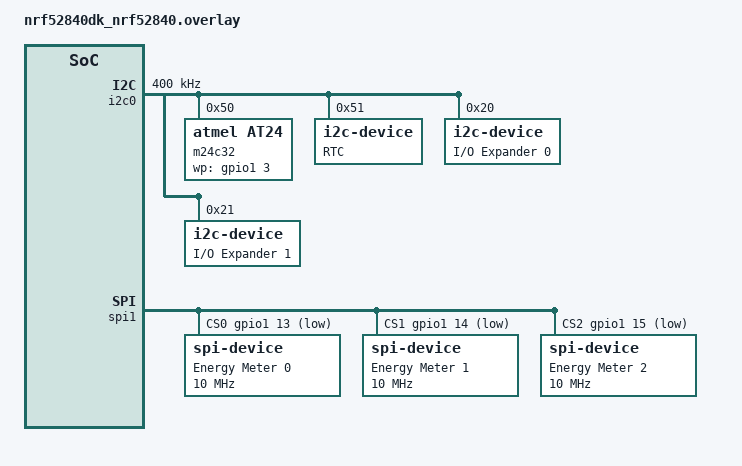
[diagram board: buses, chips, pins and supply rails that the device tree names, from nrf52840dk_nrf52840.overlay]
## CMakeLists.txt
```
cmake_minimum_required(VERSION 3.20.0)
find_package(Zephyr REQUIRED HINTS $ENV{ZEPHYR_BASE})

project(Energy_Meter)

FILE(GLOB app_sources src/*.c)
target_sources(app PRIVATE ${app_sources})
```

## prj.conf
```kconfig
# Network shell
CONFIG_SHELL=y
CONFIG_OPENTHREAD_SHELL=y
CONFIG_SHELL_ARGC_MAX=26
CONFIG_SHELL_CMD_BUFF_SIZE=416

# Enable OpenThread features set
CONFIG_OPENTHREAD_NORDIC_LIBRARY_FTD=y

# L2 enabling
CONFIG_NET_L2_OPENTHREAD=y

# Networking
CONFIG_NETWORKING=y

# OpenThread Joiner
CONFIG_OPENTHREAD_JOINER_AUTOSTART=y
CONFIG_OPENTHREAD_JOINER_PSKD="M3T3R1T"

# EEPROM
CONFIG_EEPROM=y

# I2C
CONFIG_I2C=y

# SPI
CONFIG_SPI=y

CONFIG_MBEDTLS_SHA1_C=n
CONFIG_FPU=y

CONFIG_GPIO_SHELL=y
```

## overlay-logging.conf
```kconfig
# Logging

# Enable net module logging
# CONFIG_NET_LOG=y
# Option for configuring log level in net config library
# CONFIG_NET_CONFIG_LOG_LEVEL_INF=y

# Option for configuring log level in Zephyr L2 logging
# CONFIG_OPENTHREAD_L2_DEBUG=y
# CONFIG_OPENTHREAD_L2_LOG_LEVEL_DBG=y
# CONFIG_OPENTHREAD_L2_DEBUG_DUMP_15_4=y
# CONFIG_OPENTHREAD_L2_DEBUG_DUMP_IPV6=y

# Configure sample logging setting
CONFIG_LOG=y
CONFIG_OPENTHREAD_DEBUG=y

# Option for configuring log level in OpenThread
CONFIG_OPENTHREAD_LOG_LEVEL_NOTE=y

# Enable RTT logging backend
CONFIG_USE_SEGGER_RTT=y
CONFIG_LOG_BACKEND_RTT=y

# Disable UART logging backend
CONFIG_LOG_BACKEND_UART=n
CONFIG_SHELL_LOG_BACKEND=n
```

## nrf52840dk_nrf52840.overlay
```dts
&i2c0 {
    clock-frequency = < I2C_BITRATE_FAST >;

    m24c32: m24c32@50 {
        compatible = "atmel,at24";
        status = "okay";
        reg = < 0x50 >;
        size = < 4096 >;
        pagesize = < 32 >;
        address-width = < 16 >;
        timeout = < 5 >;
        wp-gpios = < &gpio1 3 GPIO_PULL_UP >;
    };

    pcf8563: pcf8563@51 {
        compatible = "i2c-device";
        status = "okay";
        reg = < 0x51 >;
        label = "RTC";
    };

    tca6408a_0: tca6408a@20 {
        compatible = "i2c-device";
        status = "okay";
        reg = < 0x20 >;
        label = "I/O Expander 0";
    };

    tca6408a_1: tca6408a@21 {
        compatible = "i2c-device";
        status = "okay";
        reg = < 0x21 >;
        label = "I/O Expander 1";
    };
};

&i2c0_default {
    group1 {
        psels = <NRF_PSEL(TWIM_SCL, 1, 1)>,
                <NRF_PSEL(TWIM_SDA, 1, 2)>;
    };
};

&i2c0_sleep {
    group1 {
        psels = <NRF_PSEL(TWIM_SCL, 1, 1)>,
                <NRF_PSEL(TWIM_SDA, 1, 2)>;
    };
};

&spi1 {
    cs-gpios = < &gpio1 13 GPIO_ACTIVE_LOW >,
               < &gpio1 14 GPIO_ACTIVE_LOW >,
               < &gpio1 15 GPIO_ACTIVE_LOW >;

    ade7753_0: ade7753@0 {
        compatible = "spi-device";
        reg = < 0 >;
        spi-max-frequency = < 10000000 >;
        label = "Energy Meter 0";
    };

    ade7753_1: ade7753@1 {
        compatible = "spi-device";
        reg = < 1 >;
        spi-max-frequency = < 10000000 >;
        label = "Energy Meter 1";
    };

    ade7753_2: ade7753@2 {
        compatible = "spi-device";
        reg = < 2 >;
        spi-max-frequency = < 10000000 >;
        label = "Energy Meter 2";
    };
};

&spi1_default {
    group1 {
        psels = < NRF_PSEL(SPIM_SCK, 1, 10) >,
                < NRF_PSEL(SPIM_MISO, 1, 11) >,
                < NRF_PSEL(SPIM_MOSI, 1, 12) >;
    };
};

&spi1_sleep {
    group1 {
        psels = < NRF_PSEL(SPIM_SCK, 1, 10) >,
                < NRF_PSEL(SPIM_MISO, 1, 11) >,
                < NRF_PSEL(SPIM_MOSI, 1, 12) >;
    };
};

&spi3 {
    status = "disabled";
};

/ {
    aliases {
    eeprom = &m24c32;
    rtc = &pcf8563;
    ioexpander0 = &tca6408a_0;
    ioexpander1 = &tca6408a_1;
    energymeter0 = &ade7753_0;
    energymeter1 = &ade7753_1;
    energymeter2 = &ade7753_2;
    };
};
```

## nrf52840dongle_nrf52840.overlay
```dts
&i2c0 {
    clock-frequency = < I2C_BITRATE_FAST >;

    m24c32: m24c32@50 {
        compatible = "atmel,at24";
        status = "okay";
        reg = < 0x50 >;
        size = < 4096 >;
        pagesize = < 32 >;
        address-width = < 16 >;
        timeout = < 5 >;
        wp-gpios = < &gpio0 29 GPIO_PULL_UP >;
    };

    pcf8563: pcf8563@51 {
        compatible = "i2c-device";
        status = "okay";
        reg = < 0x51 >;
        label = "RTC";
    };

    tca6408a_0: tca6408a@20 {
        compatible = "i2c-device";
        status = "okay";
        reg = < 0x20 >;
        label = "I/O Expander 0";
    };

    tca6408a_1: tca6408a@21 {
        compatible = "i2c-device";
        status = "okay";
        reg = < 0x21 >;
        label = "I/O Expander 1";
    };
};

&i2c0_default {
    group1 {
        psels = <NRF_PSEL(TWIM_SCL, 0, 2)>,
                <NRF_PSEL(TWIM_SDA, 0, 31)>;
    };
};

&i2c0_sleep {
    group1 {
        psels = <NRF_PSEL(TWIM_SCL, 0, 2)>,
                <NRF_PSEL(TWIM_SDA, 0, 31)>;
    };
};

&uart0 {
    status = "disabled";
};


&spi1 {
    cs-gpios = < &gpio0 20 GPIO_ACTIVE_LOW >,
               < &gpio0 22 GPIO_ACTIVE_LOW >,
               < &gpio0 24 GPIO_ACTIVE_LOW >;

    ade7753_0: ade7753@0 {
        compatible = "spi-device";
        reg = < 0 >;
        spi-max-frequency = < 10000000 >;
        label = "Energy Meter 0";
    };

    ade7753_1: ade7753@1 {
        compatible = "spi-device";
        reg = < 1 >;
        spi-max-frequency = < 10000000 >;
        label = "Energy Meter 1";
    };

    ade7753_2: ade7753@2 {
        compatible = "spi-device";
        reg = < 2 >;
        spi-max-frequency = < 10000000 >;
        label = "Energy Meter 2";
    };
};

&spi1_default {
    group1 {
        psels = < NRF_PSEL(SPIM_SCK, 0, 13) >,
                < NRF_PSEL(SPIM_MISO, 0, 15) >,
                < NRF_PSEL(SPIM_MOSI, 0, 17) >;
    };
};

&spi1_sleep {
    group1 {
        psels = < NRF_PSEL(SPIM_SCK, 0, 13) >,
                < NRF_PSEL(SPIM_MISO, 0, 15) >,
                < NRF_PSEL(SPIM_MOSI, 0, 17) >;
    };
};

/ {
    aliases {
    eeprom = &m24c32;
    rtc = &pcf8563;
    ioexpander0 = &tca6408a_0;
    ioexpander1 = &tca6408a_1;
    energymeter0 = &ade7753_0;
    energymeter1 = &ade7753_1;
    energymeter2 = &ade7753_2;
    };
};
```

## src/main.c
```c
#include <zephyr/kernel.h>
#include <zephyr/logging/log.h>

#include "energy_meter.h"


LOG_MODULE_REGISTER(Energy_Meter, LOG_LEVEL_DBG);


int main(void)
{
    int ret = 0;

    ret = get_components();
    if (ret != 0)
	{
		LOG_ERR("Could not start Energy Meter: %i!", ret);
		return ret;
	}
	else
	{
		LOG_INF("Started Energy Meter.");
	}

    ret = check_device_data();
    if (ret != 0)
	{
		LOG_ERR("Could not check Energy Meter data: %i!", ret);
		return ret;
	}
	else
	{
		LOG_INF("Checked Energy Meter data.");
	}

    while (1)
    {
        if (is_readings_update_required())
        {
            LOG_INF("Updating Energy Meter readings.");

            ret = update_readings();
            if (ret != 0)
                LOG_WRN("Could not update Energy Meter readings: %i!", ret);
            else
                LOG_INF("Updated Energy Meter readings.");
        }
    }


    return ret;
}
```

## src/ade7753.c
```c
#include "ade7753.h"

#include <zephyr/logging/log.h>

#include <math.h>


#define ADE7753_LOG_PROJECT_NAME Energy_Meter
#define ADE7753_LOG_LEVEL LOG_LEVEL_WRN


static int write_register(const struct ade7753_device *a_device, uint8_t a_tx_buffer[], const size_t a_tx_buffer_length)
{
    LOG_MODULE_DECLARE(ADE7753_LOG_PROJECT_NAME, ADE7753_LOG_LEVEL);

    a_tx_buffer[0] |= BIT(7);

    const struct spi_buf tx_spi_buf[] = {
        { .buf = a_tx_buffer, .len = a_tx_buffer_length }
    };

    const struct spi_buf_set tx_spi_buf_set = {
        .buffers = tx_spi_buf,
        .count = 1
    };

    int ret = 0;

    ret = gpio_pin_set_dt(a_device->cs, 1);
    if (ret != 0)
    {
        LOG_ERR("Could not set CS pin to active state: %i", ret);
        return ret;
    }
    else
    {
        LOG_INF("Set CS pin to active state.");
    }

    ret = spi_write_dt(a_device->spi_spec, &tx_spi_buf_set);
    if (ret != 0)
    {
        LOG_ERR("Could not write to ADE7753: %i", ret);
        return ret;
    }
    else
    {
        LOG_INF("Wrote to ADE7753.");
    }

    ret = gpio_pin_set_dt(a_device->cs, 0);
    if (ret != 0)
        LOG_ERR("Could not set CS pin to inactive state: %i", ret);
    else
        LOG_INF("Set CS pin to inactive state.");

    return ret;
}

static int read_register(struct ade7753_device *a_device, uint8_t a_tx_buffer[], const size_t a_tx_buffer_length, uint8_t a_rx_buffer[], const size_t a_rx_buffer_length)
{
    LOG_MODULE_DECLARE(ADE7753_LOG_PROJECT_NAME, ADE7753_LOG_LEVEL);

    const struct spi_buf tx_spi_buf[] = {
        { .buf = a_tx_buffer, .len = a_tx_buffer_length }
    };

    const struct spi_buf_set tx_spi_buf_set = {
        .buffers = tx_spi_buf,
        .count = 1
    };

    const struct spi_buf rx_spi_buf[] = {
        { .buf = a_rx_buffer, .len = a_rx_buffer_length }
    };

    const struct spi_buf_set rx_spi_buf_set = {
        .buffers = rx_spi_buf,
        .count = 1
    };

    int ret = 0;

    ret = gpio_pin_set_dt(a_device->cs, 1);
    if (ret != 0)
    {
        LOG_ERR("Could not set CS pin to active state: %i", ret);
        return ret;
    }
    else
    {
        LOG_INF("Set CS pin to active state.");
    }

    ret = spi_write_dt(a_device->spi_spec, &tx_spi_buf_set);
    if (ret != 0)
    {
        LOG_ERR("Could not write to ADE7753: %i", ret);
        return ret;
    }
    else
    {
        LOG_INF("Wrote to ADE7753.");
    }

    ret = spi_read_dt(a_device->spi_spec, &rx_spi_buf_set);
    if (ret != 0)
    {
        LOG_ERR("Could not read from ADE7753: %i", ret);
        return ret;
    }
    else
    {
        LOG_INF("Read from ADE7753.");
    }

    ret = gpio_pin_set_dt(a_device->cs, 0);
    if (ret != 0)
        LOG_ERR("Could not set CS pin to inactive state: %i", ret);
    else
        LOG_INF("Set CS pin to inactive state.");

    return ret;
}

static int check_checksum(const struct ade7753_device *a_device)
{
    LOG_MODULE_DECLARE(ADE7753_LOG_PROJECT_NAME, ADE7753_LOG_LEVEL);

    int ret = 0;

    uint8_t tx_buffer[] = { ADE7753_CHKSUM };
    uint8_t rx_buffer[1];

    ret = read_register(a_device, tx_buffer, sizeof(tx_buffer), rx_buffer, sizeof(rx_buffer));
    if (ret != 0)
    {
        LOG_ERR("Could not read ADE7753 Checksum Register: %i", ret);
        return ret;
    }
    else
    {
        LOG_INF("Read ADE7753 Checksum Register.");
    }

    LOG_DBG("Checksum Register content: %X", rx_buffer[0]);

    return ret;
}

int ade7753_reset(struct ade7753_device *a_device)
{
    LOG_MODULE_DECLARE(ADE7753_LOG_PROJECT_NAME, ADE7753_LOG_LEVEL);

    int ret = 0;

    return ret;
}

int ade7753_initialize(struct ade7753_device *a_device)
{
    LOG_MODULE_DECLARE(ADE7753_LOG_PROJECT_NAME, ADE7753_LOG_LEVEL);
    
    int ret = 0;

    ret = gpio_pin_configure_dt(a_device->cs, GPIO_OUTPUT_INACTIVE);
    if (ret != 0)
        LOG_ERR("Could configure CS pin to output inactive: %i", ret);
    else
        LOG_INF("Configured CS pin to output inactive.");

    return ret;
}

int ade7753_get_active_energy(struct ade7753_device *a_device)
{
    LOG_MODULE_DECLARE(ADE7753_LOG_PROJECT_NAME, ADE7753_LOG_LEVEL);

    int ret = 0;

    uint8_t tx_buffer[] = { ADE7753_RVAENERGY };
    uint8_t rx_buffer[3];

    ret = read_register(a_device, tx_buffer, sizeof(tx_buffer), rx_buffer, sizeof(rx_buffer));
    if (ret != 0)
    {
        LOG_ERR("Could not read ADE7753 Active Energy Register: %i", ret);
        return ret;
    }
    else
    {
        LOG_INF("Read ADE7753 Active Energy Register.");
    }

    LOG_DBG("Active Energy Register content: %X:%X:%X", rx_buffer[0], rx_buffer[1], rx_buffer[2]);

    uint32_t active_energy = 0;
    active_energy |= rx_buffer[2];
    active_energy |= (rx_buffer[1] << 8);
    active_energy |= (rx_buffer[0] << 16);

    if (active_energy > 60000)
    {
        LOG_ERR("Incorrect active energy value!");
        return -EBADMSG;
    }

    a_device->readings.active_energy = (active_energy / 3600.0) / 1000.0;

    LOG_WRN("Active increment: %i!", active_energy);

    return ret;
}

int ade7753_get_apparent_energy(struct ade7753_device *a_device)
{
    LOG_MODULE_DECLARE(ADE7753_LOG_PROJECT_NAME, ADE7753_LOG_LEVEL);

    int ret = 0;

    uint8_t tx_buffer[] = { ADE7753_RAENERGY };
    uint8_t rx_buffer[3];

    ret = read_register(a_device, tx_buffer, sizeof(tx_buffer), rx_buffer, sizeof(rx_buffer));
    if (ret != 0)
    {
        LOG_ERR("Could not read ADE7753 Apparent Energy Register: %i", ret);
        return ret;
    }
    else
    {
        LOG_INF("Read ADE7753 Apparent Energy Register.");
    }

    LOG_DBG("Apparent Energy Register content: %X:%X:%X", rx_buffer[0], rx_buffer[1], rx_buffer[2]);

    uint32_t apparent_energy = 0;
    apparent_energy |= rx_buffer[2];
    apparent_energy |= (rx_buffer[1] << 8);
    apparent_energy |= (rx_buffer[0] << 16);

    if (apparent_energy > 60000)
    {
        LOG_ERR("Incorrect apparent energy value!");
        return -EBADMSG;
    }

    LOG_WRN("Apparent increment: %i!", apparent_energy);

    a_device->readings.apparent_energy = (apparent_energy / 3600.0) / 1000.0;

    return ret;
}

void ade7753_get_reactive_energy(struct ade7753_device *a_device)
{
    LOG_MODULE_DECLARE(ADE7753_LOG_PROJECT_NAME, ADE7753_LOG_LEVEL);

    double reactive_energy = sqrt(pow(a_device->readings.apparent_energy, 2) - pow(a_device->readings.active_energy, 2));

    LOG_INF("Calculated reactive energy.");

    if (isnan(reactive_energy))
    {
        LOG_ERR("Incorrect reactive energy value!");
        return;
    }

    a_device->readings.reactive_energy = reactive_energy;

    LOG_DBG("Reactive energy value: %lf", a_device->readings.reactive_energy);
}

int ade7753_get_current_rms(struct ade7753_device *a_device)
{
    LOG_MODULE_DECLARE(ADE7753_LOG_PROJECT_NAME, ADE7753_LOG_LEVEL);

    int ret = 0;

    uint8_t tx_buffer[] = { ADE7753_IRMS };
    uint8_t rx_buffer[3];

    ret = read_register(a_device, tx_buffer, sizeof(tx_buffer), rx_buffer, sizeof(rx_buffer));
    if (ret != 0)
    {
        LOG_ERR("Could not read ADE7753 Channel 1 RMS Value (Current Channel) Register: %i", ret);
        return ret;
    }
    else
    {
        LOG_INF("Read ADE7753 Channel 1 RMS Value (Current Channel) Register.");
    }

    LOG_DBG("Channel 1 RMS Value (Current Channel) Register content: %X:%X:%X", rx_buffer[0], rx_buffer[1], rx_buffer[2]);

    uint32_t current_rms = 0;
    current_rms |= rx_buffer[2];
    current_rms |= (rx_buffer[1] << 8);
    current_rms |= (rx_buffer[0] << 16);

    a_device->readings.current_rms = current_rms * 0.000039352801928;

    return ret;
}

int ade7753_get_voltage_rms(struct ade7753_device *a_device)
{
    LOG_MODULE_DECLARE(ADE7753_LOG_PROJECT_NAME, ADE7753_LOG_LEVEL);

    int ret = 0;

    uint8_t tx_buffer[] = { ADE7753_VRMS };
    uint8_t rx_buffer[3];

    ret = read_register(a_device, tx_buffer, sizeof(tx_buffer), rx_buffer, sizeof(rx_buffer));
    if (ret != 0)
    {
        LOG_ERR("Could not read ADE7753 Channel 2 RMS Value (Voltage Channel) Register: %i", ret);
        return ret;
    }
    else
    {
        LOG_INF("Read ADE7753 Channel 2 RMS Value (Voltage Channel) Register.");
    }

    LOG_DBG("Channel 2 RMS Value (Voltage Channel) Register content: %X:%X:%X", rx_buffer[0], rx_buffer[1], rx_buffer[2]);

    uint32_t voltage_rms = 0;
    voltage_rms |= rx_buffer[2];
    voltage_rms |= (rx_buffer[1] << 8);
    voltage_rms |= (rx_buffer[0] << 16);

    a_device->readings.voltage_rms = voltage_rms * 0.000188788604906;

    return ret;
}

int ade7753_get_readings(struct ade7753_device *a_device)
{
    LOG_MODULE_DECLARE(ADE7753_LOG_PROJECT_NAME, ADE7753_LOG_LEVEL);

    int ret = 0;

    ret = ade7753_get_active_energy(a_device);
    if (ret != 0)
        LOG_ERR("Could not get active energy from ADE7753: %i!", ret);
    else
        LOG_INF("Got active energy from ADE7753.");

    ret = ade7753_get_apparent_energy(a_device);
    if (ret != 0)
        LOG_ERR("Could not get apparent energy from ADE7753: %i!", ret);
    else
        LOG_INF("Got apparent energy from ADE7753.");

    ade7753_get_reactive_energy(a_device);

    ret = ade7753_get_current_rms(a_device);
    if (ret != 0)
        LOG_ERR("Could not get current RMS from ADE7753: %i!", ret);
    else
        LOG_INF("Got current RMS from ADE7753.");

    ret = ade7753_get_voltage_rms(a_device);
    if (ret != 0)
        LOG_ERR("Could not get volatge RMS from ADE7753: %i!", ret);
    else
        LOG_INF("Got voltage RMS from ADE7753.");

    return ret;
}
```

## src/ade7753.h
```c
#pragma once

#include <zephyr/drivers/spi.h>
#include <zephyr/drivers/gpio.h>


#define ADE7753_WAVEFORM    0x01
#define ADE7753_AENERGY     0x02
#define ADE7753_RAENERGY    0x03
#define ADE7753_LAENERGY    0x04
#define ADE7753_VAENERGY    0x05
#define ADE7753_RVAENERGY   0x06
#define ADE7753_LVAENERGY   0x07
#define ADE7753_LVARENERGY  0x08
#define ADE7753_MODE        0x09
#define ADE7753_IRQEN       0x0A
#define ADE7753_STATUS      0x0B
#define ADE7753_RSTSTATUS   0x0C
#define ADE7753_CH1OS       0x0D
#define ADE7753_CH2OS       0x0E
#define ADE7753_GAIN        0x0F
#define ADE7753_PHCAL       0x10
#define ADE7753_APOS        0x11
#define ADE7753_WGAIN       0x12
#define ADE7753_WDIV        0x13
#define ADE7753_CFNUM       0x14
#define ADE7753_CFDEN       0x15
#define ADE7753_IRMS        0x16
#define ADE7753_VRMS        0x17
#define ADE7753_IRMSOS      0x18
#define ADE7753_VRMSOS      0x19
#define ADE7753_VAGAIN      0x1A
#define ADE7753_VADIV       0x1B
#define ADE7753_LINECYC     0x1C
#define ADE7753_ZXTOUT      0x1D
#define ADE7753_SAGCYC      0x1E
#define ADE7753_SAGLVL      0x1F
#define ADE7753_IPKLVL      0x20
#define ADE7753_VPKLVL      0x21
#define ADE7753_IPEAK       0x22
#define ADE7753_RSTIPEAK    0x23
#define ADE7753_VPEAK       0x24
#define ADE7753_RSTVPEAK    0x25
#define ADE7753_TEMP        0x26
#define ADE7753_PERIOD      0x27
#define ADE7753_TMODE       0x3D
#define ADE7753_CHKSUM      0x3E
#define ADE7753_DIEREV      0x3F


struct ade7753_readings {
    double active_energy;
    double apparent_energy;
    double reactive_energy;
    double current_rms;
    double voltage_rms;
};

struct ade7753_device {
    struct spi_dt_spec *spi_spec;
    struct gpio_dt_spec *cs;
    struct ade7753_readings readings;
	struct k_sem *lock;
};


int ade7753_reset(struct ade7753_device *a_device);
int ade7753_initialize(struct ade7753_device *a_device);
int ade7753_get_active_energy(struct ade7753_device *a_device);
int ade7753_get_apparent_energy(struct ade7753_device *a_device);
void ade7753_get_reactive_energy(struct ade7753_device *a_device);
int ade7753_get_current_rms(struct ade7753_device *a_device);
int ade7753_get_voltage_rms(struct ade7753_device *a_device);
int ade7753_get_readings(struct ade7753_device *a_device);
```

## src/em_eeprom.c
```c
#include "em_eeprom.h"

#include <zephyr/logging/log.h>


#define EEPROM_LOG_PROJECT_NAME Energy_Meter
#define EEPROM_LOG_LEVEL LOG_LEVEL_DBG

#define EEPROM_NODE DT_ALIAS(eeprom)


static const struct device *s_eeprom;


int em_eeprom_get_device(void)
{
    LOG_MODULE_DECLARE(EEPROM_LOG_PROJECT_NAME, EEPROM_LOG_LEVEL);

	s_eeprom = DEVICE_DT_GET(EEPROM_NODE);

	if (!device_is_ready(s_eeprom))
	{
		LOG_ERR("Device \"%s\" is not ready. Check the driver initialization logs for errors!", s_eeprom->name);

		s_eeprom = NULL;

		return -ENODEV;
	}

	LOG_INF("Found EEPROM device \"%s\".", s_eeprom->name);

	return 0;
}

size_t em_eeprom_get_size(void)
{
	LOG_MODULE_DECLARE(EEPROM_LOG_PROJECT_NAME, EEPROM_LOG_LEVEL);

	const size_t eeprom_size = eeprom_get_size(s_eeprom);
	LOG_INF("Using EEPROM %s with size of: %zu [B].", s_eeprom->name, eeprom_size);

	return eeprom_size;
}

int em_eeprom_read(const off_t a_data_offset, void *a_data, const size_t a_data_length)
{
	LOG_MODULE_DECLARE(EEPROM_LOG_PROJECT_NAME, EEPROM_LOG_LEVEL);

	int ret = 0;
	
	ret = eeprom_read(s_eeprom, a_data_offset, a_data, a_data_length);
	if (ret != 0)
		LOG_ERR("Could not read from EEPROM %s: %i!", s_eeprom->name, ret);
	else
		LOG_DBG("Read %i bytes at %lX from EEPROM %s.", a_data_length, a_data_offset, s_eeprom->name);

	return ret;
}

int em_eeprom_write(const off_t a_data_offset, const void *a_data, const size_t a_data_length)
{
	LOG_MODULE_DECLARE(EEPROM_LOG_PROJECT_NAME, EEPROM_LOG_LEVEL);

	int ret = 0;

	ret = eeprom_write(s_eeprom, a_data_offset, a_data, a_data_length);
	if (ret != 0)
		LOG_ERR("Could not write to EEPROM %s: %i!", s_eeprom->name, ret);
	else
		LOG_DBG("Wrote %i bytes at %lX to EEPROM %s.", a_data_length, a_data_offset, s_eeprom->name);

	return ret;
}
```

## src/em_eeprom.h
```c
#pragma once

#include <zephyr/drivers/eeprom.h>


#define EUI_OFFSET 0U
#define BOOT_TIME_OFFSET 8U
#define RESET_TIME_OFFSET 16U
#define READINGS_OFFSET 24U


int em_eeprom_get_device(void);
size_t em_eeprom_get_size(void);
int em_eeprom_read(const off_t a_data_offset, void *a_data, const size_t a_data_length);
int em_eeprom_write(const off_t a_data_offset, const void *a_data, const size_t a_data_length);
```

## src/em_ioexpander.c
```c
#include "em_ioexpander.h"

#include <zephyr/logging/log.h>


#define IOEXPANDER_LOG_PROJECT_NAME Energy_Meter
#define IOEXPANDER_LOG_LEVEL LOG_LEVEL_ERR

#define IOEXPANDER_0_NODE DT_ALIAS(ioexpander0)
#define IOEXPANDER_1_NODE DT_ALIAS(ioexpander1)

#define GPIO0_PORT DT_NODELABEL(gpio0)
#define GPIO1_PORT DT_NODELABEL(gpio1)

// #define IOEXPANDER_0_RESET_PIN 5
// #define IOEXPANDER_0_INT_PIN 6
#define IOEXPANDER_0_RESET_PIN 10
#define IOEXPANDER_0_INT_PIN 9

// #define IOEXPANDER_1_RESET_PIN 7
// #define IOEXPANDER_1_INT_PIN 8
#define IOEXPANDER_1_RESET_PIN 10
#define IOEXPANDER_1_INT_PIN 13


static struct tca6408a_device s_ioexpander_0;
static struct tca6408a_device s_ioexpander_1;

K_SEM_DEFINE(io_lock_0, 1, 1);
K_SEM_DEFINE(io_lock_1, 1, 1);


static void ioexpander_0_get_device(void)
{
    LOG_MODULE_DECLARE(IOEXPANDER_LOG_PROJECT_NAME, IOEXPANDER_LOG_LEVEL);

	memset(&s_ioexpander_0, 0, sizeof(s_ioexpander_0));

	static struct i2c_dt_spec ioexpander = I2C_DT_SPEC_GET(IOEXPANDER_0_NODE);

	s_ioexpander_0.i2c_spec = &ioexpander;

	if (!device_is_ready(s_ioexpander_0.i2c_spec->bus))
	{
		LOG_ERR("I2C bus %s for I/O Expander 0 device is not ready!", s_ioexpander_0.i2c_spec->bus->name);

		s_ioexpander_0.i2c_spec = NULL;

		return;
	}

	LOG_INF("Found I/O Expander 0 device at address \"0x%X\".", s_ioexpander_0.i2c_spec->addr);
}

static int ioexpander_0_get_pins(void)
{
	LOG_MODULE_DECLARE(IOEXPANDER_LOG_PROJECT_NAME, IOEXPANDER_LOG_LEVEL);

	static struct gpio_dt_spec reset_pin = {
        // .port = DEVICE_DT_GET(GPIO1_PORT),
		.port = DEVICE_DT_GET(GPIO0_PORT),
        .pin = IOEXPANDER_0_RESET_PIN
    };

	static struct gpio_dt_spec interrupt_pin = {
        // .port = DEVICE_DT_GET(GPIO1_PORT),
		.port = DEVICE_DT_GET(GPIO0_PORT),
        .pin = IOEXPANDER_0_INT_PIN
    };
    
    if (!device_is_ready(DEVICE_DT_GET(GPIO1_PORT)))
    {
        LOG_ERR("GPIO port %s for reset and interrupt pin of I/O Expander 0 is not ready!", reset_pin.port->name);
        return -ENODEV;
    }

	s_ioexpander_0.reset_pin = &reset_pin;
	s_ioexpander_0.interrupt_pin = &interrupt_pin;

    LOG_INF("Found I/O Expander 0 configuration pins.");

	return 0;
}

static void ioexpander_1_get_device(void)
{
    LOG_MODULE_DECLARE(IOEXPANDER_LOG_PROJECT_NAME, IOEXPANDER_LOG_LEVEL);

	memset(&s_ioexpander_1, 0, sizeof(s_ioexpander_1));

	static struct i2c_dt_spec ioexpander = I2C_DT_SPEC_GET(IOEXPANDER_1_NODE);

	s_ioexpander_1.i2c_spec = &ioexpander; 

	if (!device_is_ready(s_ioexpander_1.i2c_spec->bus))
	{
		LOG_ERR("I2C bus %s for I/O Expander 1 device is not ready!", s_ioexpander_1.i2c_spec->bus->name);

		s_ioexpander_1.i2c_spec = NULL;

		return;
	}

	LOG_INF("Found I/O Expander 1 device at address \"0x%X\".", s_ioexpander_1.i2c_spec->addr);
}

static int ioexpander_1_get_pins(void)
{
	LOG_MODULE_DECLARE(IOEXPANDER_LOG_PROJECT_NAME, IOEXPANDER_LOG_LEVEL);

	static struct gpio_dt_spec reset_pin = {
        .port = DEVICE_DT_GET(GPIO1_PORT),
        .pin = IOEXPANDER_1_RESET_PIN
    };

	static struct gpio_dt_spec interrupt_pin = {
        .port = DEVICE_DT_GET(GPIO1_PORT),
        .pin = IOEXPANDER_1_INT_PIN
    };
    
    if (!device_is_ready(DEVICE_DT_GET(GPIO1_PORT)))
    {
        LOG_ERR("GPIO port %s for reset and interrupt pin of I/O Expander 1 is not ready!", reset_pin.port->name);
        return -ENODEV;
    }

	s_ioexpander_1.reset_pin = &reset_pin;
	s_ioexpander_1.interrupt_pin = &interrupt_pin;

    LOG_INF("Found I/O Expander 1 configuration pins.");

	return 0;
}

static inline void ioexpander_0_interrupt_handler(const struct device *a_port, struct gpio_callback *a_cb, gpio_port_pins_t a_pins)
{
	LOG_MODULE_DECLARE(IOEXPANDER_LOG_PROJECT_NAME, IOEXPANDER_LOG_LEVEL);

    ARG_UNUSED(a_port);
	ARG_UNUSED(a_cb);
	ARG_UNUSED(a_pins);

	LOG_INF("Called I/O Expander 0 interrupt handler.");

	tca6408a_interrupt_handler(&s_ioexpander_0);
}

static inline void ioexpander_1_interrupt_handler(const struct device *a_port, struct gpio_callback *a_cb, gpio_port_pins_t a_pins)
{
	LOG_MODULE_DECLARE(IOEXPANDER_LOG_PROJECT_NAME, IOEXPANDER_LOG_LEVEL);

    ARG_UNUSED(a_port);
	ARG_UNUSED(a_cb);
	ARG_UNUSED(a_pins);

	LOG_INF("Called I/O Expander 1 interrupt handler.");

	tca6408a_interrupt_handler(&s_ioexpander_1);
}

static int initialize_devices(void)
{
	LOG_MODULE_DECLARE(IOEXPANDER_LOG_PROJECT_NAME, IOEXPANDER_LOG_LEVEL);

	int ret = 0;

	ret = tca6408a_initialize(&s_ioexpander_0);
	if (ret != 0)
	{
		LOG_ERR("Could not initialize I/O Expander 0!");
		return ret;
	}
	else
	{
		LOG_INF("Initialized I/O Expander 0.");
	}

	s_ioexpander_0.lock = &io_lock_0;

	ret = tca6408a_interrupt_callback_configure(&s_ioexpander_0, ioexpander_0_interrupt_handler);
	if (ret != 0)
	{
		LOG_ERR("Could not configure interrupt for I/O Expander 0!");
		return ret;
	}
	else
	{
		LOG_INF("Configured interrupt for I/O Expander 0.");
	}

	ret = tca6408a_initialize(&s_ioexpander_1);
	if (ret != 0)
	{
		LOG_ERR("Could not initialize I/O Expander 1!");
		return ret;
	}
	else
	{
		LOG_INF("Initialized I/O Expander 1.");
	}

	s_ioexpander_1.lock = &io_lock_1;

	ret = tca6408a_interrupt_callback_configure(&s_ioexpander_1, ioexpander_1_interrupt_handler);
	if (ret != 0)
	{
		LOG_ERR("Could not configure interrupt for I/O Expander 1!");
		return ret;
	}
	else
	{
		LOG_INF("Configured interrupt for I/O Expander 1.");
	}

	return ret;
}

int em_ioexpander_get_devices(void)
{
	LOG_MODULE_DECLARE(IOEXPANDER_LOG_PROJECT_NAME, IOEXPANDER_LOG_LEVEL);

	int ret = 0;

    ioexpander_0_get_device();
	ret = ioexpander_0_get_pins();
	if (ret != 0)
	{
		LOG_ERR("Could not get pins for I/O Expander 0!");
		return ret;
	}
	else
	{
		LOG_INF("Got pins for I/O Expander 0.");
	}

    ioexpander_1_get_device();
	ret = ioexpander_1_get_pins();
	if (ret != 0)
	{
		LOG_ERR("Could not get pins for I/O Expander 1!");
		return ret;
	}
	else
	{
		LOG_INF("Got pins for I/O Expander 1.");
	}

	LOG_INF("Got I/O Expander devices.");

	ret = initialize_devices();
	if (ret != 0)
		LOG_ERR("Could not initialize I/O Expander devices!");
	else
		LOG_INF("Initialized I/O Expander devices.");

	return ret;
}

int em_ioxpander_0_pin_configure(const gpio_pin_t a_pin, const gpio_flags_t flags)
{
	LOG_MODULE_DECLARE(IOEXPANDER_LOG_PROJECT_NAME, IOEXPANDER_LOG_LEVEL);

	LOG_INF("Configure I/O Expander 0 pin %i with flags %i.", a_pin, flags);

	return tca6408a_pin_configure(&s_ioexpander_0, a_pin, flags);
}

int em_ioxpander_0_pin_set(const gpio_pin_t a_pin, const bool a_value)
{
	LOG_MODULE_DECLARE(IOEXPANDER_LOG_PROJECT_NAME, IOEXPANDER_LOG_LEVEL);

	LOG_INF("Set I/O Expander 0 pin %i with value %i.", a_pin, a_value);

	return tca6408a_pin_set(&s_ioexpander_0, a_pin, a_value);
}

bool em_ioxpander_0_pin_get(const gpio_pin_t a_pin)
{
	LOG_MODULE_DECLARE(IOEXPANDER_LOG_PROJECT_NAME, IOEXPANDER_LOG_LEVEL);

	bool a_value = false;

	if (tca6408a_pin_get(&s_ioexpander_0, a_pin, &a_value) != 0)
		LOG_ERR("Could not get pin %i value from I/O Expander 0 @%X!", a_pin, s_ioexpander_0.i2c_spec->addr);
	else
		LOG_DBG("Got I/O Expander 0 pin %i value %i.", a_pin, a_value);

	return a_value;
}

int em_ioxpander_0_pin_interrupt_configure(const gpio_pin_t a_pin, const gpio_flags_t flags)
{
	LOG_MODULE_DECLARE(IOEXPANDER_LOG_PROJECT_NAME, IOEXPANDER_LOG_LEVEL);

	LOG_INF("Configure I/O Expander 0 interrupt for pin %i with flags %i.", a_pin, flags);

	return tca6408a_pin_interrupt_configure(&s_ioexpander_0, a_pin, flags);
}

bool em_ioxpander_0_pin_interrupt_status(const gpio_pin_t a_pin)
{
	LOG_MODULE_DECLARE(IOEXPANDER_LOG_PROJECT_NAME, IOEXPANDER_LOG_LEVEL);

	LOG_INF("Get I/O Expander 0 interrupt status for pin %i.", a_pin);

	return tca6408a_pin_interrupt_get_status(&s_ioexpander_0, a_pin);
}

int em_ioxpander_1_pin_configure(const gpio_pin_t a_pin, const gpio_flags_t flags)
{
	LOG_MODULE_DECLARE(IOEXPANDER_LOG_PROJECT_NAME, IOEXPANDER_LOG_LEVEL);

	LOG_INF("Configure I/O Expander 1 pin %i with flags %i.", a_pin, flags);

	return tca6408a_pin_configure(&s_ioexpander_1, a_pin, flags);
}

int em_ioxpander_1_pin_set(const gpio_pin_t a_pin, const bool a_value)
{
	LOG_MODULE_DECLARE(IOEXPANDER_LOG_PROJECT_NAME, IOEXPANDER_LOG_LEVEL);

	LOG_INF("Set I/O Expander 1 pin %i with value %i.", a_pin, a_value);

	return tca6408a_pin_set(&s_ioexpander_1, a_pin, a_value);
}

bool em_ioxpander_1_pin_get(const gpio_pin_t a_pin)
{
	LOG_MODULE_DECLARE(IOEXPANDER_LOG_PROJECT_NAME, IOEXPANDER_LOG_LEVEL);

	bool a_value = false;

	if (tca6408a_pin_get(&s_ioexpander_1, a_pin, &a_value) != 0)
		LOG_ERR("Could not get pin %i value from I/O Expander 1 @%X!", a_pin, s_ioexpander_1.i2c_spec->addr);
	else
		LOG_DBG("Got I/O Expander 1 pin %i value %i.", a_pin, a_value);

	return a_value;
}

int em_ioxpander_1_pin_interrupt_configure(const gpio_pin_t a_pin, const gpio_flags_t flags)
{
	LOG_MODULE_DECLARE(IOEXPANDER_LOG_PROJECT_NAME, IOEXPANDER_LOG_LEVEL);

	LOG_INF("Configure I/O Expander 1 interrupt for pin %i with flags %i.", a_pin, flags);

	return tca6408a_pin_interrupt_configure(&s_ioexpander_1, a_pin, flags);
}

bool em_ioxpander_1_pin_interrupt_status(const gpio_pin_t a_pin)
{
	LOG_MODULE_DECLARE(IOEXPANDER_LOG_PROJECT_NAME, IOEXPANDER_LOG_LEVEL);

	LOG_INF("Get I/O Expander 1 interrupt status for pin %i.", a_pin);

	return tca6408a_pin_interrupt_get_status(&s_ioexpander_1, a_pin);
}
```

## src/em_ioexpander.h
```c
#pragma once

#include "tca6408a.h"


int em_ioexpander_get_devices(void);

int em_ioxpander_0_pin_configure(const gpio_pin_t a_pin, const gpio_flags_t flags);
int em_ioxpander_0_pin_set(const gpio_pin_t a_pin, const bool a_value);
bool em_ioxpander_0_pin_get(const gpio_pin_t a_pin);
int em_ioxpander_0_pin_interrupt_configure(const gpio_pin_t a_pin, const gpio_flags_t flags);
bool em_ioxpander_0_pin_interrupt_status(const gpio_pin_t a_pin);

int em_ioxpander_1_pin_configure(const gpio_pin_t a_pin, const gpio_flags_t flags);
int em_ioxpander_1_pin_set(const gpio_pin_t a_pin, const bool a_value);
bool em_ioxpander_1_pin_get(const gpio_pin_t a_pin);
int em_ioxpander_1_pin_interrupt_configure(const gpio_pin_t a_pin, const gpio_flags_t flags);
bool em_ioxpander_1_pin_interrupt_status(const gpio_pin_t a_pin);
```

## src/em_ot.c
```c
#include "em_ot.h"

#include <zephyr/drivers/gpio.h>

#include <openthread/thread.h>
#include <openthread/srp_client.h>
#include <openthread/udp.h>
#include <openthread/dns_client.h>
#include <openthread/sntp.h>

#include "energy_meter.h"


#define OT_LOG_PROJECT_NAME Energy_Meter
#define OT_LOG_LEVEL LOG_LEVEL_DBG

// #define STATUS_LED_NODE DT_ALIAS(led0)
#define STATUS_LED_NODE DT_ALIAS(led3)

#define SRP_CLIENT_HOST_NAME "ot-host"

#define UDP_SRP_CLIENT_SERVICE_INSTANCE_NAME "ot-service"
#define UDP_SRP_CLIENT_SERVICE_NAME "_energy_meter._udp"
#define UDP_SRP_CLIENT_SERVICE_PORT 51200

#define SNTP_SERVER_NAME "time.google.com"


static struct gpio_dt_spec s_state_led;

static struct openthread_context *s_context = NULL;
static otInstance *s_instance = NULL;
static uint8_t s_eui64[8];

static otUdpSocket s_udp_socket;

static otIp6Address s_sntp_address;
static uint64_t s_sntp_time;

K_SEM_DEFINE(dns_lock, 0, 1);
K_SEM_DEFINE(sntp_lock, 0, 1);


static int configure_led0(void)
{
    LOG_MODULE_DECLARE(OT_LOG_PROJECT_NAME, OT_LOG_LEVEL);

    static struct gpio_dt_spec led = GPIO_DT_SPEC_GET(STATUS_LED_NODE, gpios);

    s_state_led = led;

    int ret = 0;

    if (!device_is_ready(s_state_led.port))
    {
        LOG_ERR("GPIO port %s for LED 0 is not ready!", s_state_led.port->name);
        return -ENODEV;
    }

    ret = gpio_pin_configure_dt(&s_state_led, GPIO_OUTPUT_INACTIVE);
    if (ret != 0)
        LOG_ERR("Could not configure LED 0 pin: %i!", ret);
    else
        LOG_INF("Configured LED 0 pin.");

    return ret;
}

static void state_changed_callback(otChangedFlags a_flags, void *a_context)
{
    LOG_MODULE_DECLARE(OT_LOG_PROJECT_NAME, OT_LOG_LEVEL);

    OT_UNUSED_VARIABLE(a_context);

    if ((a_flags & OT_CHANGED_THREAD_ROLE) != 0)
    {
        otDeviceRole current_role = otThreadGetDeviceRole(s_instance);

        switch (current_role)
        {
            case OT_DEVICE_ROLE_LEADER:
            case OT_DEVICE_ROLE_ROUTER:
            case OT_DEVICE_ROLE_CHILD:
                LOG_INF("Device connected to OpenThread network.");
                gpio_pin_set_dt(&s_state_led, 1);
                break;

            case OT_DEVICE_ROLE_DETACHED:
            case OT_DEVICE_ROLE_DISABLED:
                LOG_INF("Device not connected to OpenThread network.");
                gpio_pin_set_dt(&s_state_led, 0);
                break;
        }
    }
}

static void srp_client_auto_start_callback(const otSockAddr *a_server_sock_addr, void *a_context)
{
    LOG_MODULE_DECLARE(OT_LOG_PROJECT_NAME, OT_LOG_LEVEL);

    LOG_INF("Called SRP client auto start callback.");

    if (a_server_sock_addr != NULL)
    {
        LOG_INF("SRP client auto start.");

        char srp_address_string[OT_IP6_ADDRESS_STRING_SIZE];
        otIp6AddressToString(&a_server_sock_addr->mAddress, srp_address_string, OT_IP6_ADDRESS_STRING_SIZE);
        LOG_DBG("SRP server address: %s", srp_address_string);

        LOG_DBG("SRP server port: %i", a_server_sock_addr->mPort);
    }
    else
    {
        LOG_INF("SRP client auto stop.");
    }
}

static otError initialize_srp_client(void)
{
    LOG_MODULE_DECLARE(OT_LOG_PROJECT_NAME, OT_LOG_LEVEL);

    otError error = OT_ERROR_NONE;

    error = otSrpClientEnableAutoHostAddress(s_instance);
    if (error == OT_ERROR_NONE)
    {
        LOG_INF("Enabled SRP client auto host address.");
    }
    else
    {
        LOG_ERR("Could not enable SRP client auto host address: %s!", otThreadErrorToString(error));
        return error;
    }

    otSrpClientEnableAutoStartMode(s_instance, srp_client_auto_start_callback, s_context);
    LOG_INF("Enabled SRP client auto start mode.");

    otPlatRadioGetIeeeEui64(s_instance, s_eui64);
    
    static char host_name[sizeof(SRP_CLIENT_HOST_NAME) + 17];
    strcpy(host_name, SRP_CLIENT_HOST_NAME);
    strcat(host_name, "-");
    char eui64[17];
    em_ot_get_eui64_string(eui64);
    strcat(host_name, eui64);
    
    error = otSrpClientSetHostName(s_instance, host_name);
    if (error == OT_ERROR_NONE)
        LOG_INF("Set SRP client host name.");
    else
        LOG_ERR("Could not set SRP client host name: %s!", otThreadErrorToString(error));
    
    return error;
}

static otError add_srp_client_service(void)
{
    LOG_MODULE_DECLARE(OT_LOG_PROJECT_NAME, OT_LOG_LEVEL);

    static otSrpClientService srp_client_service;
    memset(&srp_client_service, 0, sizeof(srp_client_service));
    srp_client_service.mInstanceName = UDP_SRP_CLIENT_SERVICE_INSTANCE_NAME;
    srp_client_service.mName = UDP_SRP_CLIENT_SERVICE_NAME;
    srp_client_service.mPort = UDP_SRP_CLIENT_SERVICE_PORT;

    otError error = OT_ERROR_NONE;

    error = otSrpClientAddService(s_instance, &srp_client_service);
    if (error == OT_ERROR_NONE)
        LOG_INF("Added SRP client service.");
    else
        LOG_ERR("Could not add SRP client service: %s!", otThreadErrorToString(error));

    return error;
}

static void udp_receive_callback(void *a_context, otMessage *a_message, const otMessageInfo *a_message_info)
{
    LOG_MODULE_DECLARE(OT_LOG_PROJECT_NAME, OT_LOG_LEVEL);

    OT_UNUSED_VARIABLE(a_context);

    uint16_t message_length = otMessageGetLength(a_message);
    if (message_length != 0)
    {
        LOG_INF("Received UDP message of length: %i [B].", message_length);
    }
    else
    {
        LOG_ERR("Received UDP message of length 0!");
        return;
    }

    uint16_t read_bytes = 0;

    uint8_t buffer[message_length];

    read_bytes = otMessageRead(a_message, otMessageGetOffset(a_message), buffer, message_length);
    if (read_bytes != 0)
    {
        LOG_INF("Read %i [B] from UDP message.", read_bytes);
    }
    else
    {
        LOG_ERR("Could not read UDP message!");
        return;
    }

    otMessage *message = otUdpNewMessage(s_instance, NULL);
    if (message != NULL)
    {
        LOG_INF("Created new UDP message.");
    }
    else
    {
        LOG_ERR("Could not create new UDP message!");
        return;
    }

    uint8_t command = 0xFF;
    uint8_t *response_message;
    size_t response_size = 0;

    switch (buffer[0])
    {
    case 0x00:
        LOG_INF("0x00 command.");
        command = 0x00;
        const double active_energy = get_active_energy();
        response_size = sizeof(active_energy);
        response_message = (uint8_t*)malloc(response_size);
        memcpy(response_message, &active_energy, response_size);
        break;

    case 0x01:
        LOG_INF("0x01 command.");
        command = 0x01;
        const double reactive_energy = get_reactive_energy();
        response_size = sizeof(reactive_energy);
        response_message = (uint8_t*)malloc(response_size);
        memcpy(response_message, &reactive_energy, response_size);
        break;

    case 0x02:
        LOG_INF("0x02 command.");
        command = 0x02;
        const double apparent_energy = get_apparent_energy();
        response_size = sizeof(apparent_energy);
        response_message = (uint8_t*)malloc(response_size);
        memcpy(response_message, &apparent_energy, response_size);
        break;

    case 0x03:
        LOG_INF("0x03 command.");
        command = 0x03;
        const double current_rms_0 = get_node_0_current();
        response_size = sizeof(current_rms_0);
        response_message = (uint8_t*)malloc(response_size);
        memcpy(response_message, &current_rms_0, response_size);
        break;

    case 0x04:
        LOG_INF("0x04 command.");
        command = 0x04;
        const double voltage_rms_0 = get_node_0_voltage();
        response_size = sizeof(voltage_rms_0);
        response_message = (uint8_t*)malloc(response_size);
        memcpy(response_message, &voltage_rms_0, response_size);
        break;

    case 0x05:
        LOG_INF("0x05 command.");
        command = 0x05;
        const double current_rms_1 = get_node_1_current();
        response_size = sizeof(current_rms_1);
        response_message = (uint8_t*)malloc(response_size);
        memcpy(response_message, &current_rms_1, response_size);
        break;

    case 0x06:
        LOG_INF("0x06 command.");
        command = 0x06;
        const double voltage_rms_1 = get_node_1_voltage();
        response_size = sizeof(voltage_rms_1);
        response_message = (uint8_t*)malloc(response_size);
        memcpy(response_message, &voltage_rms_1, response_size);
        break;

    case 0x07:
        LOG_INF("0x07 command.");
        command = 0x07;
        const double current_rms_2 = get_node_2_current();
        response_size = sizeof(current_rms_2);
        response_message = (uint8_t*)malloc(response_size);
        memcpy(response_message, &current_rms_2, response_size);
        break;

    case 0x08:
        LOG_INF("0x08 command.");
        command = 0x08;
        const double voltage_rms_2 = get_node_2_voltage();
        response_size = sizeof(voltage_rms_2);
        response_message = (uint8_t*)malloc(response_size);
        memcpy(response_message, &voltage_rms_2, response_size);
        break;

    case 0x09:
        LOG_INF("0x09 command.");
        command = 0x09;
        const int64_t boot_time = get_boot_time();
        response_size = sizeof(boot_time);
        response_message = (uint8_t*)malloc(response_size);
        memcpy(response_message, &boot_time, response_size);
        break;

    case 0x0A:
        LOG_INF("0x0A command.");
        command = 0x0A;
        const int64_t reset_time = get_reset_time();
        response_size = sizeof(reset_time);
        response_message = (uint8_t*)malloc(response_size);
        memcpy(response_message, &reset_time, response_size);
        break;

    case 0x0B:
        LOG_INF("0x0B command.");
        command = 0x0B;
        reset_readings();
        break;
    
    default:
        LOG_WRN("Unknown command!");
        response_size = sizeof("Warning. Unknown command!");
        response_message = (char*)malloc(response_size);
        strcpy(response_message, "Warning. Unknown command!");
        break;
    }

    otError error = OT_ERROR_NONE;

    error = otMessageAppend(message, &command, sizeof(command));
    if (error == OT_ERROR_NONE)
    {
        LOG_INF("Appended message.");
    }
    else
    {
        LOG_ERR("Could not append message: %s!", otThreadErrorToString(error));
        otMessageFree(message);
        return;
    }

    error = otMessageAppend(message, response_message, response_size);
    if (error == OT_ERROR_NONE)
    {
        LOG_INF("Appended message.");
    }
    else
    {
        LOG_ERR("Could not append message: %s!", otThreadErrorToString(error));
        otMessageFree(message);
        return;
    }

    free(response_message);

    error = otUdpSend(s_instance, &s_udp_socket, message, a_message_info);
    if (error == OT_ERROR_NONE)
    {
        LOG_INF("Sent UDP message.");
    }
    else
    {
        LOG_ERR("Could not send UDP message: %s!", otThreadErrorToString(error));
        otMessageFree(message);
    }
}

static otError initialize_udp_socket(void)
{
    LOG_MODULE_DECLARE(OT_LOG_PROJECT_NAME, OT_LOG_LEVEL);

    otSockAddr udp_socket_address;

    memset(&s_udp_socket, 0, sizeof(s_udp_socket));
    memset(&udp_socket_address, 0, sizeof(udp_socket_address));

    udp_socket_address.mPort = UDP_SRP_CLIENT_SERVICE_PORT;

    otError error = OT_ERROR_NONE;

    error = otUdpOpen(s_instance, &s_udp_socket, udp_receive_callback, s_context);
    if (error == OT_ERROR_NONE)
    {
        LOG_INF("Opened UDP socket.");
    }
    else
    {
        LOG_ERR("Could not open UDP socket: %s!", otThreadErrorToString(error));
        return error;
    }

    error = otUdpBind(s_instance, &s_udp_socket, &udp_socket_address, OT_NETIF_THREAD);
    if (error == OT_ERROR_NONE)
        LOG_INF("Binded UDP socket.");
    else
        LOG_ERR("Could not bind UDP: %s!", otThreadErrorToString(error));

    return error;
}

static void dns_address_callback(otError a_error, const otDnsAddressResponse *a_response, void *a_context)
{
    LOG_MODULE_DECLARE(OT_LOG_PROJECT_NAME, OT_LOG_LEVEL);

    OT_UNUSED_VARIABLE(a_context);

    if (a_error == OT_ERROR_NONE)
    {
        LOG_INF("Got DNS address response.");

        a_error = otDnsAddressResponseGetAddress(a_response, 0, &s_sntp_address, NULL);

        if (a_error == OT_ERROR_NONE)
        {
            otIp6Address dns_ip6_address = s_sntp_address;
            char dns_string_address[OT_IP6_ADDRESS_STRING_SIZE];
            otIp6AddressToString(&dns_ip6_address, dns_string_address, OT_IP6_ADDRESS_STRING_SIZE);

            LOG_DBG("Got address from DNS response: %s.", dns_string_address);
        }
        else
        {
            LOG_ERR("Could not get address from DNS reponse: %s!", otThreadErrorToString(a_error));
        }
    }
    else
    {
        LOG_ERR("Could not get DNS address response: %s!", otThreadErrorToString(a_error));
    }

    k_sem_give(&dns_lock);
}

static void sntp_response_handler(void *a_context, uint64_t a_time, otError a_result)
{
    LOG_MODULE_DECLARE(OT_LOG_PROJECT_NAME, OT_LOG_LEVEL);

    OT_UNUSED_VARIABLE(a_context);

    if (a_result == OT_ERROR_NONE)
    {
        LOG_DBG("Got Unix epoch: %llu.", a_time);

        s_sntp_time = a_time;
    }
    else
    {
        LOG_ERR("Could not get unix epoch: %s!", otThreadErrorToString(a_result));
    }

    k_sem_give(&sntp_lock);
}

void em_ot_set_context(struct openthread_context *a_context)
{
    LOG_MODULE_DECLARE(OT_LOG_PROJECT_NAME, OT_LOG_LEVEL);

    LOG_INF("Set OpenThead context.");

    s_context = a_context;
}

void em_ot_set_instance(struct otInstance *a_instance)
{
    LOG_MODULE_DECLARE(OT_LOG_PROJECT_NAME, OT_LOG_LEVEL);

    LOG_INF("Set OpenThead instance.");

    s_instance = a_instance;
}

otError em_ot_initialize(void)
{
    LOG_MODULE_DECLARE(OT_LOG_PROJECT_NAME, OT_LOG_LEVEL);

    int ret = 0;

    ret = configure_led0();
    if (ret != 0)
    {
		LOG_ERR("Could configure LED 0: %i!", ret);
        return ret;
    }
	else
    {
		LOG_INF("Configured LED 0.");
    }

    otError error = OT_ERROR_NONE;

    error = otSetStateChangedCallback(s_instance, state_changed_callback, s_context);
    if (error == OT_ERROR_NONE)
    {
        LOG_INF("Set OpenThread state changed callback.");
    }
    else
    {
        LOG_ERR("Could not set OpenThread state changed callback: %s!", otThreadErrorToString(error));
        return error;
    }

    error = openthread_start(s_context);
    if (error == OT_ERROR_NONE)
    {
        LOG_INF("Started OpenThread.");
    }
    else
    {
        LOG_ERR("Could not start OpenThread: %s!", otThreadErrorToString(error));
        return error;
    }

    error = initialize_srp_client();
    if (error == OT_ERROR_NONE)
    {
        LOG_INF("Initialized SRP client.");
    }
    else
    {
        LOG_ERR("Could not initialize SRP client: %s!", otThreadErrorToString(error));
        return error;
    }

    error = add_srp_client_service();
    if (error == OT_ERROR_NONE)
    {
        LOG_INF("Added SRP client service.");
    }
    else
    {
        LOG_ERR("Could not add SRP client service: %s!", otThreadErrorToString(error));
        return error;
    }

    error = initialize_udp_socket();
    if (error == OT_ERROR_NONE)
    {
        LOG_INF("Initialized UDP socket.");
    }
    else
    {
        LOG_ERR("Could not initialize UDP socket: %s!", otThreadErrorToString(error));
        return error;
    }

    // At least 1 second is needed to start the network interface
    k_sleep(K_SECONDS(5));
        
    error = otDnsClientResolveIp4Address(s_instance, SNTP_SERVER_NAME, dns_address_callback, s_context, NULL);
    if (error == OT_ERROR_NONE)
    {
        LOG_INF("DNS client resolved IPv4 address.");
    }
    else
    {
        LOG_ERR("DNS client could not resolve IPv4 address: %s!", otThreadErrorToString(error));
        return error;
    }

    // Wait for DNS address callback
	ret = k_sem_take(&dns_lock, K_FOREVER);
	if (ret != 0)
		LOG_ERR("Could not take semaphore for dns_address_callback: %i!", ret);
	else
		LOG_INF("Took semaphore for dns_address_callback.");

    return ret;
}

int em_ot_get_sntp_time(int64_t *a_unix_epoch)
{
    LOG_MODULE_DECLARE(OT_LOG_PROJECT_NAME, OT_LOG_LEVEL);

    otMessageInfo message_info;
    memset(&message_info, 0, sizeof(message_info));
    message_info.mPeerPort = OT_SNTP_DEFAULT_SERVER_PORT;
    message_info.mPeerAddr = s_sntp_address;

    otSntpQuery sntp_query;
    sntp_query.mMessageInfo = &message_info;

    otError error = OT_ERROR_NONE;

    int ret = 0;

    error = otSntpClientQuery(s_instance, &sntp_query, sntp_response_handler, s_context);
    if (error == OT_ERROR_NONE)
    {
        LOG_INF("Queried SNTP client.");
    }
    else
    {
        LOG_ERR("Could not could not query SNTP client: %s!", otThreadErrorToString(error));
        return error;
    }

    // Wait for SNTP response
	ret = k_sem_take(&sntp_lock, K_FOREVER);
	if (ret != 0)
    {
		LOG_ERR("Could not take semaphore for sntp_response_handler: %i!", ret);

        *a_unix_epoch = 0;
    }
	else
    {
		LOG_INF("Took semaphore for sntp_response_handler.");

        *a_unix_epoch = s_sntp_time;
    }

    return ret;
}

uint64_t em_ot_get_eui64(void)
{
    LOG_MODULE_DECLARE(OT_LOG_PROJECT_NAME, OT_LOG_LEVEL);

    LOG_INF("Got OpenThead EUI64.");

    uint64_t eui64 = 0;
    uint64_t shift = 0;

    for (int i = 7; i >= 0; i--)
    {
        uint64_t temp_eui64 = s_eui64[i];
        temp_eui64 <<= shift;
        eui64 |= temp_eui64;
        shift += 8;
    }

    LOG_DBG("EUI64: %llX.", eui64);

    return eui64;
}

static char uint8_t_to_char(const uint8_t value)
{
    LOG_MODULE_DECLARE(OT_LOG_PROJECT_NAME, LOG_LEVEL_NONE);

    LOG_DBG("uint8_t: %X.", value);

    char c;

    if (value < 0xA)
        c = (value + 48);
    else
        c = (value + 55);

    LOG_DBG("char: %c.", c);

    return c;
}

char *em_ot_get_eui64_string(char eui64_string[])
{
    LOG_MODULE_DECLARE(OT_LOG_PROJECT_NAME, LOG_LEVEL_NONE);

    for (int i = 0; i < 8; i++)
    {
        eui64_string[2 * i] = uint8_t_to_char((s_eui64[i] & 0xF0) >> 4);
        eui64_string[(2 * i) + 1] = uint8_t_to_char(s_eui64[i] & 0x0F);
    }

    eui64_string[16] = '\0';

    LOG_DBG("EUI64: %s.", eui64_string);

    return eui64_string;
}
```

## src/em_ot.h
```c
#pragma once

#include <zephyr/net/openthread.h>


void em_ot_set_context(struct openthread_context *a_context);
void em_ot_set_instance(struct otInstance *a_instance);
otError em_ot_initialize(void);
int em_ot_get_sntp_time(int64_t *a_unix_epoch);
uint64_t em_ot_get_eui64(void);
char *em_ot_get_eui64_string(char eui64_string[]);
```

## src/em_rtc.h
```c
#pragma once

#include <time.h>
#include <stdbool.h>


int em_rtc_get_device(void);
int em_rtc_get_time(int64_t *a_unix_epoch);
int em_rtc_set_time(struct tm *a_struct_time);
void em_rtc_log_time(int64_t a_unix_epoch);
bool em_rtc_get_interrupt_status(void);
```
